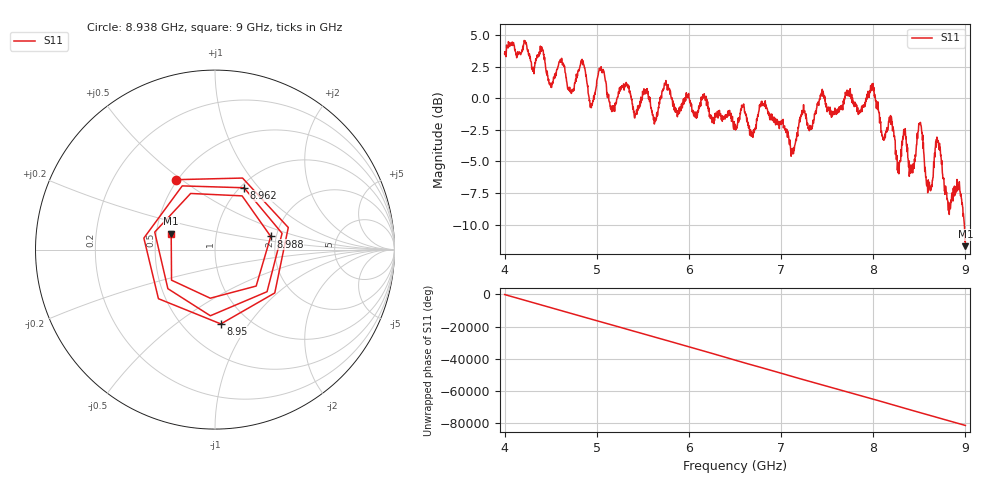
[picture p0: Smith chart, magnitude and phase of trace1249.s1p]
! Created with skrf 1.8.0 (http://scikit-rf.org).
# Hz S RI R 50.0
!freq ReS11 ImS11
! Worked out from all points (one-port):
!   1601 points, 4 GHz to 9 GHz, reference 50 ohm
!   lowest |S11| = -11.7 dB at 9 GHz (marker M1), VSWR 1.70, Z = 30 + j5.73 ohm
!   |S11| at or under -10 dB: 8.988639 GHz to end of sweep
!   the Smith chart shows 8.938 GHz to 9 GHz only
!   S11 on the Smith chart (normalised r, x): 8.938 GHz: 0.49, +0.48; 8.95 GHz: 0.75, -0.75; 8.962 GHz: 1.04, +0.84; 8.988 GHz: 1.87, +0.30; 9 GHz: 0.60, +0.11
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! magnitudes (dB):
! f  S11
! 4 GHz  3.5
! 4.4 GHz  4.0
! 4.5 GHz  1.2
! 4.625 GHz  2.8
! 4.722 GHz  0.5
! 4.85 GHz  3.0
! 4.938 GHz  -0.4
! 5.044 GHz  2.2
! 5.169 GHz  -0.9
! 5.25 GHz  0.5
! 5.875 GHz  -1.5
! 6.5 GHz  -2.3
! 6.806 GHz  -0.6
! 7.125 GHz  -4.0
! 7.231 GHz  -1.3
! 7.75 GHz  0.8
! 7.994 GHz  1.0
! 8.109 GHz  -3.2
! 8.375 GHz  -4.7
! 8.512 GHz  -1.9
! 8.603 GHz  -6.9
! 8.7 GHz  -3.5
! 8.816 GHz  -8.9
! 8.938 GHz  -7.0
! 8.95 GHz  -7.6
! 8.962 GHz  -8.4
! 8.988 GHz  -9.9
! 9 GHz  -11.7
